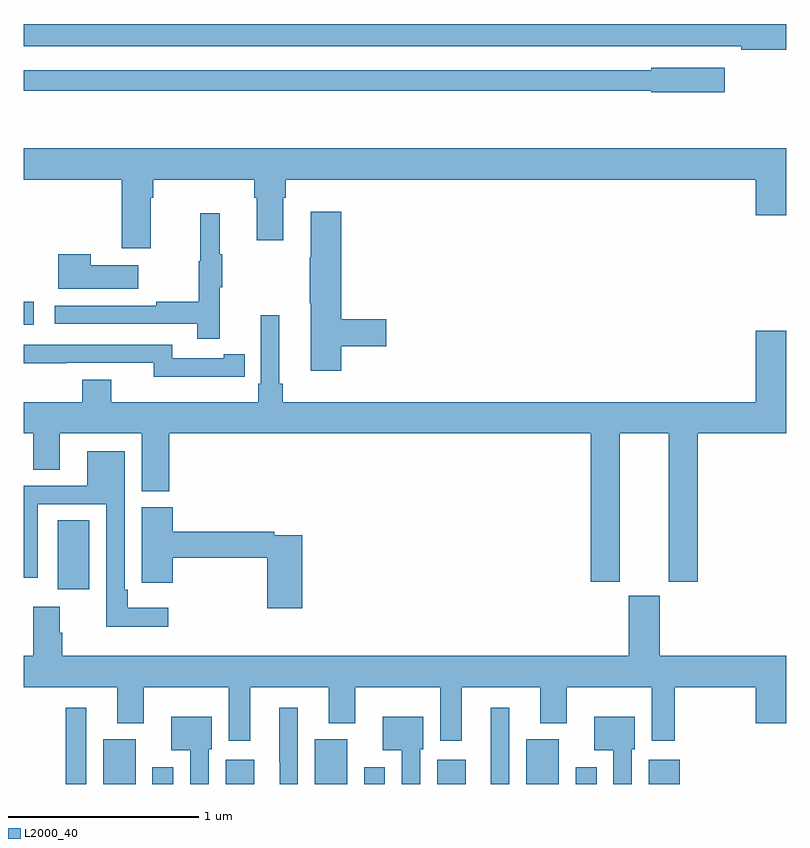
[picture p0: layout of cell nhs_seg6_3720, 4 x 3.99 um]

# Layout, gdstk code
import gdstk
lib = gdstk.Library(unit=1e-6, precision=1e-09)
def R(c, l, rs):  # rectangles x0, y0, x1, y1
    for r in rs: c.add(gdstk.rectangle(r[:2], r[2:], *l))
def A(c, l, x, y, w, h, nx, ny, dx, dy):  # array of equal rectangles
    R(c, l, [(x+i*dx, y+j*dy, x+i*dx+w, y+j*dy+h) for i in range(nx) for j in range(ny)])
def P(c, l, *ps):  # polygons
    for p in ps: c.add(gdstk.Polygon(p, *l))
L2000_40 = (2000, 40)

nhs_seg6_3720 = lib.new_cell('nhs_seg6_3720')
A(nhs_seg6_3720, L2000_40, 329.417, 941.5, 0.17, 0.234, 3, 1, 1.11, 0)
A(nhs_seg6_3720, L2000_40, 329.675, 941.5, 0.11, 0.087, 3, 1, 1.11, 0)
R(nhs_seg6_3720, L2000_40, [(329.22,941.5,329.328,941.899), (330.059,941.5,330.208,941.626), (331.169,941.5,331.318,941.626), (331.451,941.5,331.548,941.899), (332.279,941.5,332.441,941.626), (329.177,942.522,329.344,942.884), (329,943.911,329.053,944.031)])
P(nhs_seg6_3720, L2000_40, [(333,945.488),(329,945.488),(329,945.372),(332.764,945.372),(332.764,945.352),(333,945.352)],
  [(332.677,945.259),(332.292,945.259),(332.292,945.246),(329,945.246),(329,945.138),(332.292,945.138),(332.292,945.13),(332.677,945.13)],
  [(329.665,944.576),(329.678,944.576),(329.678,944.672),(330.209,944.672),(330.209,944.576),(330.221,944.576),(330.221,944.352),(330.361,944.352),(330.361,944.576),(330.374,944.576),(330.374,944.672),(332.84,944.672),(332.84,944.484),(333,944.484),(333,944.836),(329,944.836),(329,944.672),(329.513,944.672),(329.513,944.31),(329.665,944.31)],
  [(330.665,943.798),(330.901,943.798),(330.901,943.94),(330.665,943.94),(330.665,944.503),(330.506,944.503),(330.506,944.264),(330.499,944.264),(330.499,944.023),(330.506,944.023),(330.506,943.668),(330.665,943.668)],
  [(330.029,944.107),(330.04,944.107),(330.04,944.281),(330.029,944.281),(330.029,944.494),(329.926,944.494),(329.926,944.244),(329.919,944.244),(329.919,944.03),(329.695,944.03),(329.695,944.01),(329.163,944.01),(329.163,943.914),(329.911,943.914),(329.911,943.836),(330.029,943.836)],
  [(329.599,944.221),(329.351,944.221),(329.351,944.281),(329.18,944.281),(329.18,944.099),(329.599,944.099)],
  [(332.128,943.34),(332.384,943.34),(332.384,942.561),(332.537,942.561),(332.537,943.34),(333,943.34),(333,943.879),(332.84,943.879),(332.84,943.504),(330.359,943.504),(330.359,943.6),(330.34,943.6),(330.34,943.96),(330.243,943.96),(330.243,943.6),(330.23,943.6),(330.23,943.504),(329.458,943.504),(329.458,943.621),(329.306,943.621),(329.306,943.504),(329,943.504),(329,943.34),(329.048,943.34),(329.048,943.15),(329.188,943.15),(329.188,943.34),(329.618,943.34),(329.618,943.036),(329.762,943.036),(329.762,943.34),(331.976,943.34),(331.976,942.561),(332.128,942.561)],
  [(330.05,943.638),(330.158,943.638),(330.158,943.754),(330.05,943.754),(330.05,943.734),(329.778,943.734),(329.778,943.806),(329,943.806),(329,943.709),(329.222,943.709),(329.222,943.71),(329.682,943.71),(329.682,943.637),(330.05,943.637)],
  [(329.758,942.424),(329.545,942.424),(329.545,942.52),(329.529,942.52),(329.529,943.246),(329.333,943.246),(329.333,943.065),(329,943.065),(329,942.582),(329.073,942.582),(329.073,942.969),(329.433,942.969),(329.433,942.326),(329.758,942.326)],
  [(330.461,942.804),(330.314,942.804),(330.314,942.824),(329.78,942.824),(329.78,942.951),(329.618,942.951),(329.618,942.667),(329.619,942.667),(329.619,942.555),(329.78,942.555),(329.78,942.688),(330.278,942.688),(330.278,942.423),(330.461,942.423)],
  [(330.187,942.008),(330.599,942.008),(330.599,941.819),(330.739,941.819),(330.739,942.008),(331.184,942.008),(331.184,941.727),(331.297,941.727),(331.297,942.008),(331.709,942.008),(331.709,941.819),(331.849,941.819),(331.849,942.008),(332.294,942.008),(332.294,941.727),(332.415,941.727),(332.415,942.008),(332.84,942.008),(332.84,941.82),(333,941.82),(333,942.172),(332.338,942.172),(332.338,942.489),(332.174,942.489),(332.174,942.172),(329.201,942.172),(329.201,942.293),(329.188,942.293),(329.188,942.43),(329.048,942.43),(329.048,942.172),(329,942.172),(329,942.008),(329.489,942.008),(329.489,941.819),(329.629,941.819),(329.629,942.008),(330.074,942.008),(330.074,941.727),(330.187,941.727)],
  [(330.438,941.899),(330.341,941.899),(330.341,941.613),(330.342,941.613),(330.342,941.5),(330.438,941.5)],
  [(331.08,941.682),(331.096,941.682),(331.096,941.854),(330.884,941.854),(330.884,941.678),(330.984,941.678),(330.984,941.5),(331.08,941.5)],
  [(332.19,941.682),(332.206,941.682),(332.206,941.854),(331.994,941.854),(331.994,941.678),(332.094,941.678),(332.094,941.5),(332.19,941.5)],
  [(329.97,941.682),(329.986,941.682),(329.986,941.854),(329.774,941.854),(329.774,941.678),(329.874,941.678),(329.874,941.5),(329.97,941.5)])

lib.write_gds('nhs_seg6_3720.gds')
